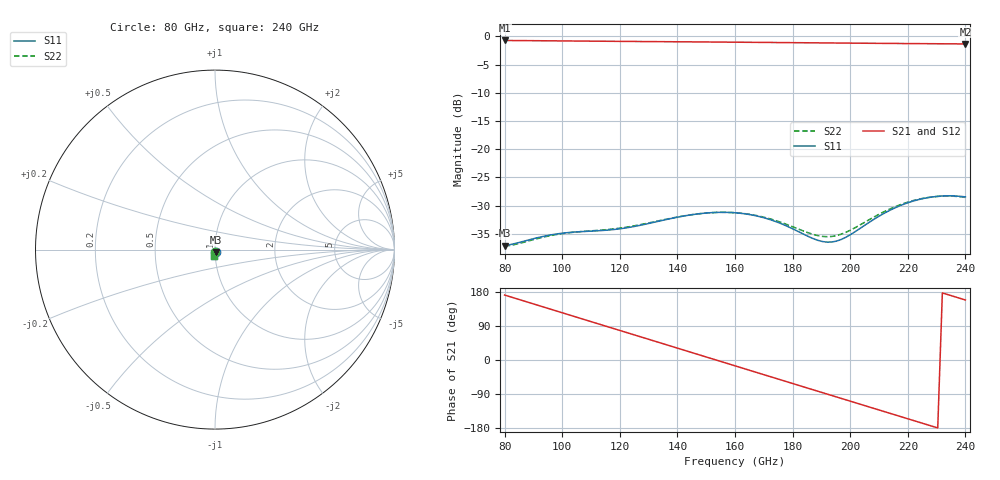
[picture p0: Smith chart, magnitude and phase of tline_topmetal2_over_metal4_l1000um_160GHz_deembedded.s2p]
! Created with skrf 2.2.0 (http://scikit-rf.org).
# GHz S DB R 50.0
! Port[1] = P1
! Port[2] = P2
!freq dBS11 angS11 dBS21 angS21 dBS12 angS12 dBS22 angS22
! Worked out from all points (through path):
!   101 points, 80 GHz to 240 GHz, reference 50 ohm
!   highest |S21| = -0.71 dB at 80 GHz (marker M1); lowest = -1.3 dB at 240 GHz (marker M2)
!   group delay of S21, straight-line fit = 6.48 ps
!   lowest |S11| = -37.1 dB at 80 GHz (marker M3), VSWR 1.03, Z = 50.3 - j1.37 ohm
!   |S11| at or under -10 dB: start of sweep to end of sweep
!   |S22| runs from -37.2 to -28.3 dB; largest |S21 - S12| = 1.5e-13
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80  -37.08 -76.4  -0.71 171.4  -0.71 171.4  -37.19 -79.4
86.4  -36.35 -70.3  -0.74 156.4  -0.74 156.4  -36.53 -72.3
92.8  -35.52 -69.0  -0.77 141.5  -0.77 141.5  -35.67 -70.1
100.8  -34.85 -70.5  -0.80 122.8  -0.80 122.8  -34.90 -71.2
107.2  -34.59 -71.9  -0.82 107.9  -0.82 107.9  -34.57 -72.4
113.6  -34.42 -72.1  -0.85 92.9  -0.85 92.9  -34.33 -72.7
120  -34.11 -71.3  -0.88 78.0  -0.88 78.0  -33.99 -72.2
126.4  -33.55 -70.7  -0.90 63.1  -0.90 63.1  -33.44 -72.0
134.4  -32.66 -72.2  -0.93 44.4  -0.93 44.4  -32.59 -73.5
147.2  -31.46 -80.1  -0.97 14.5  -0.97 14.5  -31.45 -81.1
153.6  -31.20 -85.9  -1.00 -0.4  -1.00 -0.4  -31.20 -86.4
160  -31.26 -92.0  -1.02 -15.3  -1.02 -15.3  -31.25 -92.1
166.4  -31.71 -97.9  -1.05 -30.3  -1.05 -30.3  -31.65 -97.5
174.4  -32.87 -103.3  -1.08 -48.9  -1.08 -48.9  -32.69 -102.0
187.2  -35.85 -96.7  -1.13 -78.8  -1.13 -78.8  -35.11 -95.4
193.6  -36.45 -81.5  -1.16 -93.7  -1.16 -93.7  -35.46 -83.0
200  -35.17 -66.9  -1.19 -108.6  -1.19 -108.6  -34.37 -71.4
206.4  -33.02 -61.3  -1.21 -123.5  -1.21 -123.5  -32.55 -66.7
214.4  -30.67 -64.2  -1.24 -142.1  -1.24 -142.1  -30.45 -69.4
227.2  -28.56 -78.8  -1.29 -171.8  -1.29 -171.8  -28.54 -83.3
233.6  -28.26 -87.5  -1.31 173.3  -1.31 173.3  -28.30 -91.9
240  -28.45 -96.1  -1.33 158.4  -1.33 158.4  -28.54 -100.4
